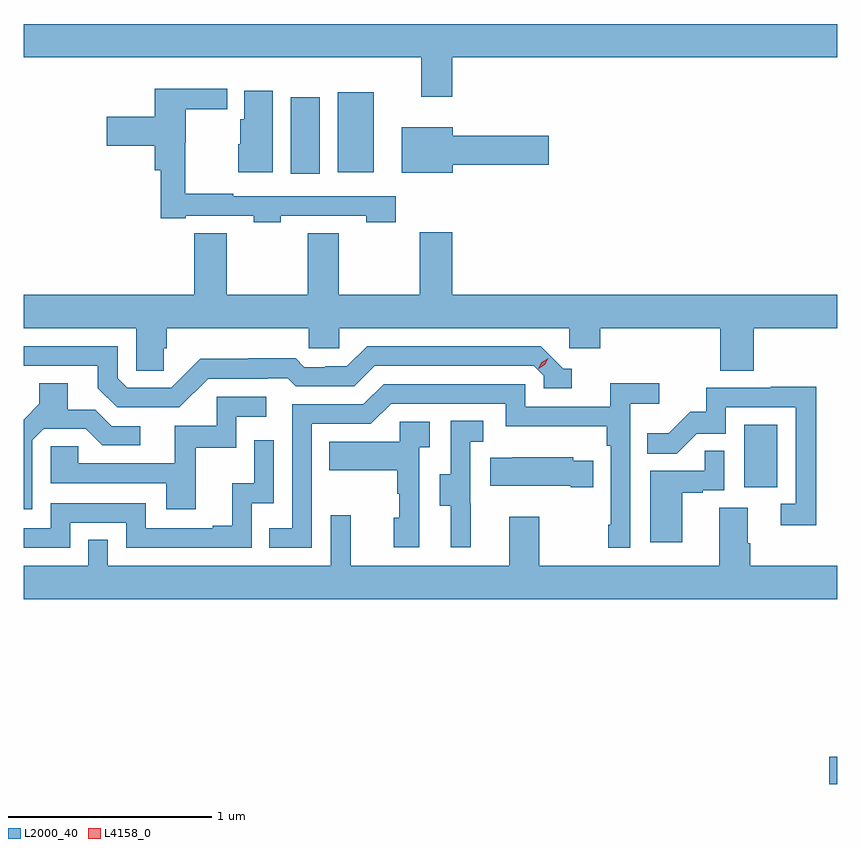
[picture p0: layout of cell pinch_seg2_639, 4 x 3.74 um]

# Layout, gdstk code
import gdstk
lib = gdstk.Library(unit=1e-6, precision=1e-09)
def R(c, l, rs):  # rectangles x0, y0, x1, y1
    for r in rs: c.add(gdstk.rectangle(r[:2], r[2:], *l))
def P(c, l, *ps):  # polygons
    for p in ps: c.add(gdstk.Polygon(p, *l))
L2000_40 = (2000, 40)
L4158_0 = (4158, 0)

pinch_seg2_639 = lib.new_cell('pinch_seg2_639')
R(pinch_seg2_639, L2000_40, [(1071.54,597.443,1071.58,597.578), (1071.122,598.902,1071.286,599.209), (1068.893,600.444,1069.036,600.82), (1069.124,600.452,1069.3,600.844)])
P(pinch_seg2_639, L2000_40, [(1069.688,601.016),(1071.58,601.016),(1071.58,601.18),(1067.58,601.18),(1067.58,601.016),(1069.535,601.016),(1069.535,600.822),(1069.688,600.822)],
  [(1068.843,600.237),(1069.263,600.237),(1069.263,600.205),(1069.408,600.205),(1069.408,600.333),(1068.611,600.333),(1068.611,600.346),(1068.374,600.346),(1068.374,600.597),(1068.376,600.597),(1068.376,600.76),(1068.58,600.76),(1068.58,600.862),(1068.224,600.862),(1068.224,600.723),(1067.988,600.723),(1067.988,600.581),(1068.224,600.581),(1068.224,600.461),(1068.253,600.461),(1068.253,600.225),(1068.376,600.225),(1068.376,600.237),(1068.711,600.237),(1068.711,600.205),(1068.843,600.205)],
  [(1068.805,600.853),(1068.665,600.853),(1068.665,600.711),(1068.644,600.711),(1068.644,600.588),(1068.635,600.588),(1068.635,600.452),(1068.805,600.452)],
  [(1069.69,600.488),(1070.161,600.488),(1070.161,600.63),(1069.69,600.63),(1069.69,600.673),(1069.439,600.673),(1069.439,600.449),(1069.69,600.449)],
  [(1068.269,599.586),(1068.284,599.586),(1068.284,599.684),(1068.981,599.684),(1068.981,599.586),(1069.131,599.586),(1069.131,599.684),(1070.262,599.684),(1070.262,599.586),(1070.414,599.586),(1070.414,599.684),(1071.005,599.684),(1071.005,599.476),(1071.17,599.476),(1071.17,599.684),(1071.58,599.684),(1071.58,599.848),(1069.688,599.848),(1069.688,600.157),(1069.528,600.157),(1069.528,599.848),(1069.13,599.848),(1069.13,600.152),(1068.976,600.152),(1068.976,599.848),(1068.578,599.848),(1068.578,600.152),(1068.419,600.152),(1068.419,599.848),(1067.58,599.848),(1067.58,599.684),(1068.132,599.684),(1068.132,599.476),(1068.269,599.476)],
  [(1068.486,599.436),(1068.779,599.436),(1068.779,599.439),(1068.878,599.439),(1068.917,599.4),(1069.206,599.4),(1069.305,599.499),(1070.088,599.499),(1070.136,599.451),(1070.136,599.388),(1070.275,599.388),(1070.275,599.484),(1070.232,599.484),(1070.121,599.595),(1069.268,599.595),(1069.169,599.496),(1069.062,599.496),(1069.062,599.493),(1068.959,599.493),(1068.917,599.536),(1068.684,599.536),(1068.684,599.533),(1068.448,599.533),(1068.306,599.391),(1068.09,599.391),(1068.042,599.439),(1068.042,599.595),(1067.58,599.595),(1067.58,599.499),(1067.945,599.499),(1067.945,599.389),(1068.039,599.295),(1068.345,599.295)],
  [(1067.622,599.133),(1067.679,599.19),(1067.885,599.19),(1067.966,599.109),(1068.154,599.109),(1068.154,599.202),(1068.012,599.202),(1067.932,599.282),(1067.797,599.282),(1067.797,599.414),(1067.657,599.414),(1067.657,599.312),(1067.58,599.235),(1067.58,598.794),(1067.622,598.794)],
  [(1068.996,599.214),(1069.287,599.214),(1069.386,599.313),(1069.95,599.313),(1069.95,599.201),(1070.446,599.201),(1070.446,599.105),(1070.466,599.105),(1070.466,598.717),(1070.454,598.717),(1070.454,598.605),(1070.562,598.605),(1070.562,599.312),(1070.704,599.312),(1070.704,599.414),(1070.465,599.414),(1070.465,599.298),(1070.046,599.298),(1070.046,599.409),(1069.349,599.409),(1069.25,599.31),(1068.9,599.31),(1068.9,598.701),(1068.787,598.701),(1068.787,598.605),(1068.996,598.605)],
  [(1071.476,599.396),(1071.253,599.396),(1071.253,599.391),(1070.935,599.391),(1070.935,599.274),(1070.858,599.274),(1070.751,599.167),(1070.647,599.167),(1070.647,599.068),(1070.791,599.068),(1070.889,599.166),(1071.033,599.166),(1071.033,599.295),(1071.375,599.295),(1071.375,598.821),(1071.303,598.821),(1071.303,598.716),(1071.476,598.716)],
  [(1068.425,599.097),(1068.624,599.097),(1068.624,599.25),(1068.772,599.25),(1068.772,599.346),(1068.528,599.346),(1068.528,599.205),(1068.323,599.205),(1068.323,599.019),(1067.849,599.019),(1067.849,599.103),(1067.712,599.103),(1067.712,598.923),(1068.281,598.923),(1068.281,598.794),(1068.425,598.794)],
  [(1069.778,598.821),(1069.776,598.821),(1069.776,599.125),(1069.84,599.125),(1069.84,599.228),(1069.68,599.228),(1069.68,598.965),(1069.625,598.965),(1069.625,598.81),(1069.679,598.81),(1069.679,598.608),(1069.778,598.608)],
  [(1069.524,599.099),(1069.576,599.099),(1069.576,599.223),(1069.428,599.223),(1069.428,599.125),(1069.081,599.125),(1069.081,598.985),(1069.416,598.985),(1069.416,598.871),(1069.426,598.871),(1069.426,598.752),(1069.4,598.752),(1069.4,598.608),(1069.524,598.608)],
  [(1067.808,598.728),(1068.084,598.728),(1068.084,598.605),(1068.702,598.605),(1068.702,598.824),(1068.81,598.824),(1068.81,599.134),(1068.714,599.134),(1068.714,598.922),(1068.605,598.922),(1068.605,598.714),(1068.509,598.714),(1068.509,598.701),(1068.18,598.701),(1068.18,598.824),(1067.712,598.824),(1067.712,598.701),(1067.58,598.701),(1067.58,598.605),(1067.808,598.605)],
  [(1070.818,598.875),(1070.918,598.875),(1070.918,598.887),(1071.024,598.887),(1071.024,599.081),(1070.929,599.081),(1070.929,598.983),(1070.66,598.983),(1070.66,598.632),(1070.818,598.632)],
  [(1070.381,599.032),(1070.283,599.032),(1070.283,599.05),(1069.981,599.05),(1069.981,599.047),(1069.873,599.047),(1069.873,598.91),(1070.27,598.91),(1070.27,598.903),(1070.381,598.903)],
  [(1071.58,598.516),(1071.152,598.516),(1071.152,598.628),(1071.139,598.628),(1071.139,598.802),(1070.999,598.802),(1070.999,598.516),(1070.115,598.516),(1070.115,598.756),(1069.967,598.756),(1069.967,598.516),(1069.187,598.516),(1069.187,598.765),(1069.089,598.765),(1069.089,598.516),(1067.994,598.516),(1067.994,598.643),(1067.898,598.643),(1067.898,598.516),(1067.58,598.516),(1067.58,598.352),(1071.58,598.352)])
P(pinch_seg2_639, L4158_0, [(1070.111,599.485),(1070.111,599.486),(1070.128,599.518),(1070.159,599.537),(1070.159,599.537),(1070.159,599.537),(1070.143,599.504),(1070.112,599.485)])

lib.write_gds('pinch_seg2_639.gds')
